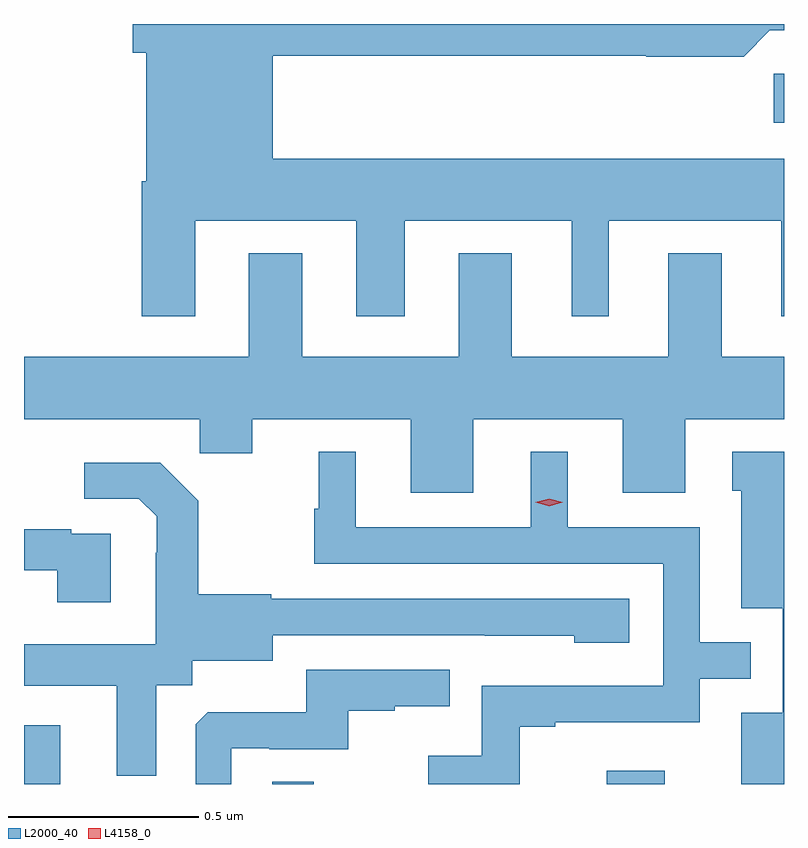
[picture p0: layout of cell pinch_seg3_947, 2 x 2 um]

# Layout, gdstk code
import gdstk
lib = gdstk.Library(unit=1e-6, precision=1e-09)
def R(c, l, rs):  # rectangles x0, y0, x1, y1
    for r in rs: c.add(gdstk.rectangle(r[:2], r[2:], *l))
def P(c, l, *ps):  # polygons
    for p in ps: c.add(gdstk.Polygon(p, *l))
L2000_40 = (2000, 40)
L4158_0 = (4158, 0)

pinch_seg3_947 = lib.new_cell('pinch_seg3_947')
R(pinch_seg3_947, L2000_40, [(861.271,681.308,861.367,681.463), (861.924,681.308,862.033,681.314), (862.805,681.308,862.957,681.343), (863.244,683.048,863.271,683.177)])
P(pinch_seg3_947, L2000_40, [(861.721,682.79),(862.145,682.79),(862.145,682.539),(862.273,682.539),(862.273,682.79),(862.712,682.79),(862.712,682.539),(862.81,682.539),(862.81,682.79),(863.264,682.79),(863.264,682.539),(863.271,682.539),(863.271,682.954),(861.925,682.954),(861.925,683.224),(862.909,683.224),(862.909,683.222),(863.165,683.222),(863.234,683.291),(863.271,683.291),(863.271,683.308),(861.557,683.308),(861.557,683.232),(861.593,683.232),(861.593,682.894),(861.581,682.894),(861.581,682.539),(861.721,682.539)],
  [(862.453,682.268),(862.847,682.268),(862.847,682.074),(863.011,682.074),(863.011,682.268),(863.271,682.268),(863.271,682.432),(863.107,682.432),(863.107,682.705),(862.967,682.705),(862.967,682.432),(862.555,682.432),(862.555,682.705),(862.415,682.705),(862.415,682.432),(862.003,682.432),(862.003,682.705),(861.863,682.705),(861.863,682.432),(861.271,682.432),(861.271,682.268),(861.733,682.268),(861.733,682.178),(861.871,682.178),(861.871,682.268),(862.289,682.268),(862.289,682.074),(862.453,682.074)],
  [(863.271,682.183),(863.135,682.183),(863.135,682.08),(863.159,682.08),(863.159,681.771),(863.268,681.771),(863.268,681.495),(863.159,681.495),(863.159,681.308),(863.271,681.308)],
  [(862.575,681.459),(862.669,681.459),(862.669,681.471),(863.049,681.471),(863.049,681.585),(863.183,681.585),(863.183,681.681),(863.049,681.681),(863.049,681.984),(862.702,681.984),(862.702,682.183),(862.604,682.183),(862.604,681.984),(862.144,681.984),(862.144,682.183),(862.046,682.183),(862.046,682.032),(862.035,682.032),(862.035,681.888),(862.953,681.888),(862.953,681.567),(862.476,681.567),(862.476,681.382),(862.335,681.382),(862.335,681.308),(862.575,681.308)],
  [(861.619,681.568),(861.714,681.568),(861.714,681.632),(861.925,681.632),(861.925,681.699),(862.483,681.699),(862.483,681.698),(862.719,681.698),(862.719,681.68),(862.864,681.68),(862.864,681.795),(861.921,681.795),(861.921,681.808),(861.729,681.808),(861.729,682.053),(861.629,682.153),(861.429,682.153),(861.429,682.059),(861.573,682.059),(861.62,682.012),(861.62,681.917),(861.618,681.917),(861.618,681.676),(861.271,681.676),(861.271,681.566),(861.515,681.566),(861.515,681.33),(861.619,681.33)],
  [(861.499,681.966),(861.395,681.966),(861.395,681.979),(861.271,681.979),(861.271,681.87),(861.359,681.87),(861.359,681.786),(861.499,681.786)],
  [(861.816,681.402),(861.916,681.402),(861.916,681.399),(862.124,681.399),(862.124,681.501),(862.247,681.501),(862.247,681.512),(862.391,681.512),(862.391,681.609),(862.014,681.609),(862.014,681.497),(861.755,681.497),(861.723,681.465),(861.723,681.308),(861.816,681.308)])
P(pinch_seg3_947, L4158_0, [(862.653,682.039),(862.617,682.049),(862.617,682.049),(862.617,682.049),(862.653,682.059),(862.689,682.049),(862.689,682.049),(862.689,682.049)])

lib.write_gds('pinch_seg3_947.gds')
